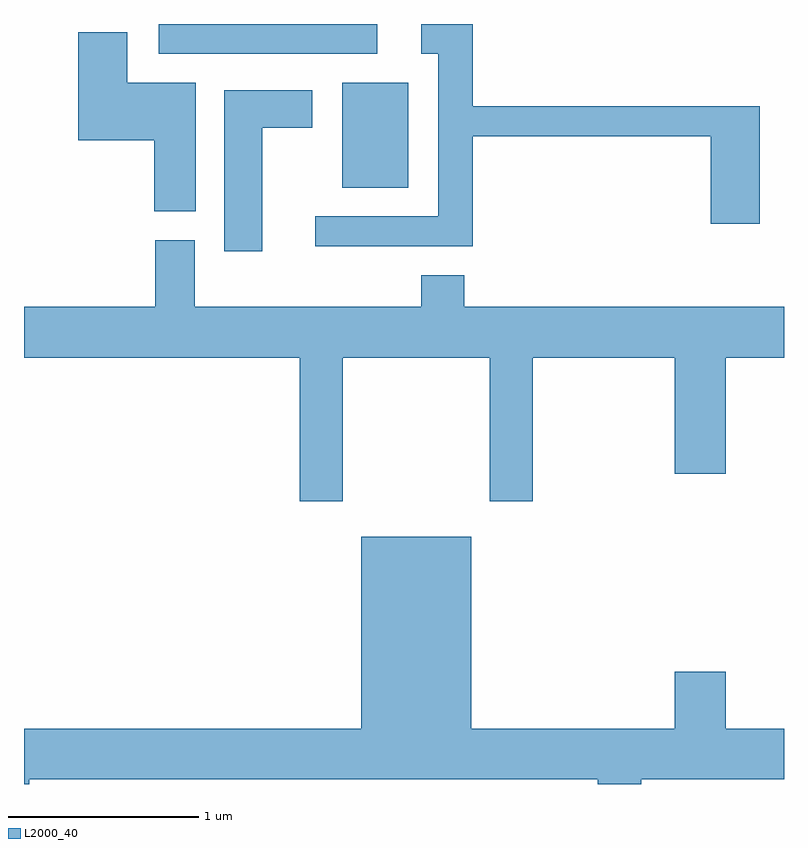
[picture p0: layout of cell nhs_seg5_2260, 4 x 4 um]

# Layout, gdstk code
import gdstk
lib = gdstk.Library(unit=1e-6, precision=1e-09)
def R(c, l, rs):  # rectangles x0, y0, x1, y1
    for r in rs: c.add(gdstk.rectangle(r[:2], r[2:], *l))
def P(c, l, *ps):  # polygons
    for p in ps: c.add(gdstk.Polygon(p, *l))
L2000_40 = (2000, 40)

nhs_seg5_2260 = lib.new_cell('nhs_seg5_2260')
R(nhs_seg5_2260, L2000_40, [(253.286,1493.211,253.634,1493.764), (252.321,1493.916,253.469,1494.072)])
P(nhs_seg5_2260, L2000_40, [(253.974,1493.481),(255.226,1493.481),(255.226,1493.021),(255.484,1493.021),(255.484,1493.639),(253.974,1493.639),(253.974,1494.072),(253.701,1494.072),(253.701,1493.916),(253.791,1493.916),(253.791,1493.059),(253.143,1493.059),(253.143,1492.901),(253.974,1492.901)],
  [(252.514,1493.764),(252.154,1493.764),(252.154,1494.029),(251.896,1494.029),(251.896,1493.461),(252.296,1493.461),(252.296,1493.086),(252.514,1493.086)],
  [(252.864,1493.526),(253.129,1493.526),(253.129,1493.724),(252.666,1493.724),(252.666,1492.876),(252.864,1492.876)],
  [(253.289,1492.316),(254.061,1492.316),(254.061,1491.561),(254.289,1491.561),(254.289,1492.316),(255.036,1492.316),(255.036,1491.706),(255.304,1491.706),(255.304,1492.316),(255.611,1492.316),(255.611,1492.584),(253.929,1492.584),(253.929,1492.749),(253.701,1492.749),(253.701,1492.584),(252.509,1492.584),(252.509,1492.934),(252.301,1492.934),(252.301,1492.584),(251.611,1492.584),(251.611,1492.316),(253.061,1492.316),(253.061,1491.561),(253.289,1491.561)],
  [(251.639,1490.096),(254.631,1490.096),(254.631,1490.072),(254.859,1490.072),(254.859,1490.096),(255.611,1490.096),(255.611,1490.364),(255.304,1490.364),(255.304,1490.664),(255.036,1490.664),(255.036,1490.364),(253.964,1490.364),(253.964,1491.374),(253.386,1491.374),(253.386,1490.364),(251.611,1490.364),(251.611,1490.072),(251.639,1490.072)])

lib.write_gds('nhs_seg5_2260.gds')
